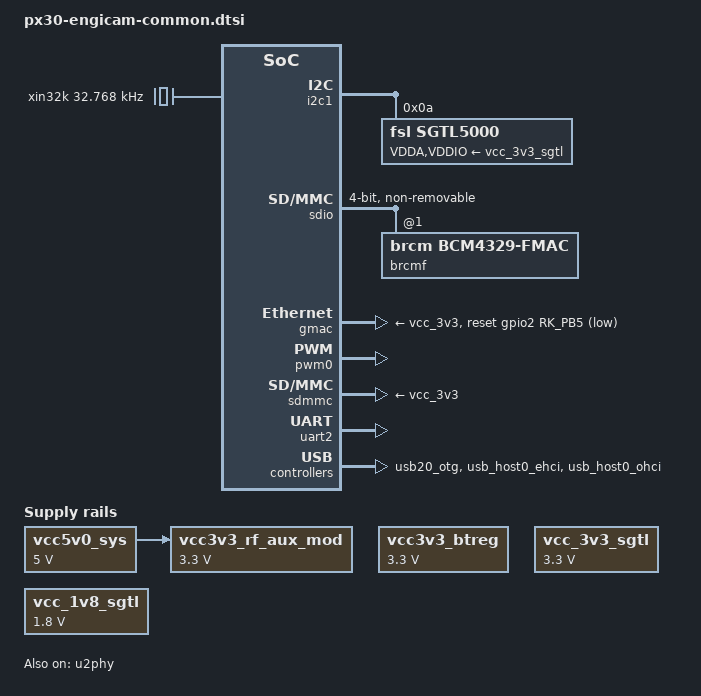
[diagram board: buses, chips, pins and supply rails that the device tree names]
// SPDX-License-Identifier: (GPL-2.0+ OR MIT)
/*
 * Copyright (c) 2020 Engicam srl
 * Copyright (c) 2020 Amarula Solutions
 * Copyright (c) 2020 Amarula Solutions(India)
 */

/ {
	aliases {
		mmc1 = &sdmmc;
		mmc2 = &sdio;
	};

	regulators {
		compatible = "simple-bus";
		#address-cells = <1>;
		#size-cells = <0>;

		vcc5v0_sys: vcc5v0-sys {
			compatible = "regulator-fixed";
			regulator-name = "vcc5v0_sys";	/* +5V */
			regulator-always-on;
			regulator-boot-on;
			regulator-min-microvolt = <5000000>;
			regulator-max-microvolt = <5000000>;
		};

		sdio_pwrseq: sdio-pwrseq {
			compatible = "mmc-pwrseq-simple";
			clocks = <&xin32k>;
			clock-names = "ext_clock";
			post-power-on-delay-ms = <80>;
			pinctrl-names = "default";
			pinctrl-0 = <&wifi_enable_h>;
		};

		vcc3v3_btreg: vcc3v3-btreg {
			compatible = "regulator-gpio";
			enable-active-high;
			pinctrl-names = "default";
			pinctrl-0 = <&bt_enable_h>;
			regulator-name = "btreg-gpio-supply";
			regulator-min-microvolt = <3300000>;
			regulator-max-microvolt = <3300000>;
			regulator-always-on;
			states = <3300000 0x0>;
		};

		vcc3v3_rf_aux_mod: vcc3v3-rf-aux-mod {
			compatible = "regulator-fixed";
			regulator-name = "vcc3v3_rf_aux_mod";
			regulator-min-microvolt = <3300000>;
			regulator-max-microvolt = <3300000>;
			regulator-always-on;
			regulator-boot-on;
			vin-supply = <&vcc5v0_sys>;
		};

		xin32k: xin32k {
			compatible = "fixed-clock";
			#clock-cells = <0>;
			clock-frequency = <32768>;
			clock-output-names = "xin32k";
		};

		vcc_3v3_sgtl: vcc_3v3_sgtl_regulator {
			compatible = "regulator-fixed";
			regulator-name = "3v3_sgtl";
			regulator-always-on;
			regulator-boot-on;
			regulator-min-microvolt = <3300000>;
			regulator-max-microvolt = <3300000>;
		};

		vcc_1v8_sgtl: vcc_1v8_sgtl_regulator {
			compatible = "regulator-fixed";
			regulator-name = "1v8_sgtl";
			regulator-always-on;
			regulator-boot-on;
			regulator-min-microvolt = <1800000>;
			regulator-max-microvolt = <1800000>;
		};
	};

	sound {
		compatible = "simple-audio-card";
		simple-audio-card,name = "px30-sgtl5000";
		simple-audio-card,format = "i2s";
		simple-audio-card,mclk-fs = <256>;

		simple-audio-card,cpu {
			sound-dai = <&i2s1_2ch>;
		};

		simple-audio-card,codec {
			sound-dai = <&sgtl5000>;
		};
	};
};

&i2c1 {
	status = "okay";

	sgtl5000: codec@a {
		compatible = "fsl,sgtl5000";
		status = "okay";
		#sound-dai-cells = <0>;
		reg = <0x0a>;
		pinctrl-0 = <&i2s1_2ch_mclk>;
		clocks = <&cru SCLK_I2S1_OUT>;
		VDDA-supply = <&vcc_3v3_sgtl>;
		VDDIO-supply = <&vcc_3v3_sgtl>;
	};
};

&sdio {
	#address-cells = <1>;
	#size-cells = <0>;
	bus-width = <4>;
	clock-frequency = <50000000>;
	cap-sdio-irq;
	cap-sd-highspeed;
	keep-power-in-suspend;
	mmc-pwrseq = <&sdio_pwrseq>;
	non-removable;
	sd-uhs-sdr104;
	status = "okay";

	brcmf: wifi@1 {
		compatible = "brcm,bcm4329-fmac";
		reg = <1>;
	};
};

&gmac {
	clock_in_out = "output";
	phy-supply = <&vcc_3v3>;	/* +3V3_SOM */
	snps,reset-active-low;
	snps,reset-delays-us = <0 50000 50000>;
	snps,reset-gpio = <&gpio2 RK_PB5 GPIO_ACTIVE_HIGH>;
	status = "okay";
};

&pwm0 {
	status = "okay";
};

&sdmmc {
	cap-sd-highspeed;
	card-detect-delay = <800>;
	vmmc-supply = <&vcc_3v3>;	/* +3V3_SOM */
	vqmmc-supply = <&vcc_3v3>;
	status = "okay";
};

&u2phy {
	status = "okay";

	u2phy_host: host-port {
		status = "okay";
	};

	u2phy_otg: otg-port {
		status = "okay";
	};
};

&uart2 {
	pinctrl-0 = <&uart2m1_xfer>;
	status = "okay";
};

&usb20_otg {
	status = "okay";
};

&usb_host0_ehci {
	status = "okay";
};

&usb_host0_ohci {
	status = "okay";
};
